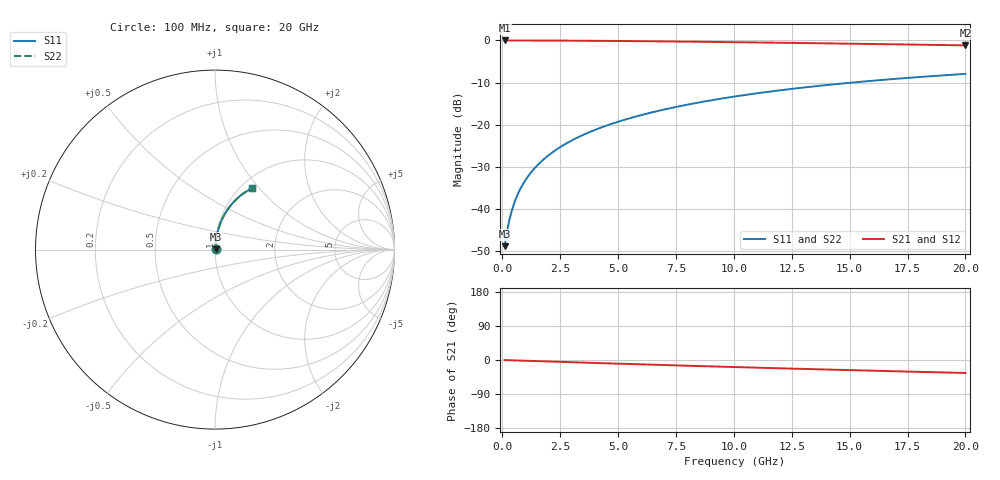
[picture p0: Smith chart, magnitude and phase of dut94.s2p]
! Touchstone file exported from HFSS 2024.1.0
!  File:  C:/UserFiles/LocalFiles/RDL_TSV_Batchsim/temp_RDL_top_94_1778682982.aedt
!  Generated:  10:38:34 PM May 13, 2026
!  Design:  RDL_top
!  Project:  temp_RDL_top_94_1778682982
!  Setup:  Setup1
!  Solution:  Sweep
! Variables:
!  dtsv = 10.80580581um
!  hbump = 3um
!  htsv = 60.06um
!  ldown = 100um
!  lrdl = 416.27um
!  p = 40
!  p1 = 53.19um
!  rhole = 1um
!  t = 450um
!  tdown = 3.915915916um
!  trdl = 3.84um
!  wdown = 15.38538539um
!  wrdl = 13.9um
# GHz S MA R 50.000000
! Terminal data exported
! Port[1] = Box2_T1
! Port[2] = Box2_T2
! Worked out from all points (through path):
!   200 points, 100 MHz to 20 GHz, reference 50 ohm
!   highest |S21| = -0.03 dB at 100 MHz (marker M1); lowest = -1.2 dB at 20 GHz (marker M2)
!   group delay of S21, straight-line fit = 4.74 ps
!   lowest |S11| = -48.7 dB at 100 MHz (marker M3), VSWR 1.01, Z = 50.3 + j0.227 ohm
!   |S11| at or under -10 dB: start of sweep to 15.1 GHz
!   |S22| runs from -48.7 to -7.9 dB; largest |S21 - S12| = 3.5e-15
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0.1  0.003654 38.1  0.9971 -0.2  0.9971 -0.2  0.003654 38.1
! Gamma 0 0 0 0
! Port Impedance 50 0 50 0
0.2  0.00537 56.8  0.9971 -0.4  0.9971 -0.4  0.00537 56.8
0.3  0.007355 65.7  0.997 -0.6  0.997 -0.6  0.007355 65.7
0.4  0.009419 70.6  0.9969 -0.8  0.9969 -0.8  0.00942 70.6
0.5  0.01151 73.7  0.9967 -1.0  0.9967 -1.0  0.01151 73.7
0.6  0.01362 75.8  0.9966 -1.2  0.9966 -1.2  0.01362 75.8
0.8  0.01785 78.5  0.9964 -1.6  0.9964 -1.6  0.01785 78.5
1.1  0.02425 80.7  0.996 -2.2  0.996 -2.2  0.02425 80.7
1.5  0.03283 82.1  0.9953 -3.0  0.9953 -3.0  0.03283 82.1
1.8  0.03929 82.6  0.9947 -3.6  0.9947 -3.6  0.03929 82.6
2.1  0.04577 82.9  0.994 -4.1  0.994 -4.1  0.04577 82.9
2.7  0.05875 82.9  0.9923 -5.3  0.9923 -5.3  0.05875 82.9
3.5  0.0761 82.5  0.9896 -6.9  0.9896 -6.9  0.07609 82.5
4.2  0.09129 81.9  0.9867 -8.2  0.9867 -8.2  0.09129 81.9
5  0.1087 81.0  0.9829 -9.7  0.9829 -9.7  0.1087 81.0
5.9  0.1282 79.9  0.9781 -11.4  0.9781 -11.4  0.1282 79.9
6.8  0.1476 78.7  0.9729 -13.0  0.9729 -13.0  0.1476 78.7
8.3  0.1797 76.5  0.9635 -15.7  0.9635 -15.7  0.1797 76.5
10.1  0.2176 73.8  0.9511 -18.8  0.9511 -18.8  0.2175 73.8
13.4  0.2839 68.7  0.9263 -24.2  0.9263 -24.2  0.2839 68.7
16.7  0.3452 63.6  0.8997 -29.4  0.8997 -29.4  0.3451 63.6
20  0.4007 58.8  0.8721 -34.2  0.8721 -34.2  0.4006 58.8
